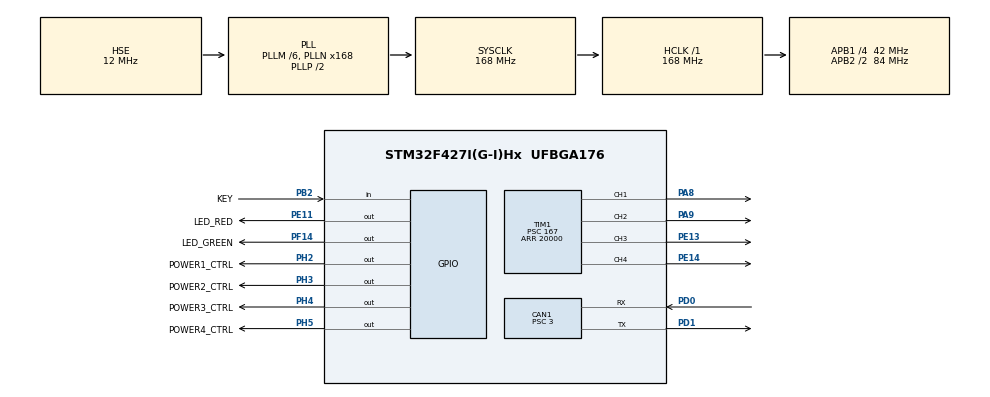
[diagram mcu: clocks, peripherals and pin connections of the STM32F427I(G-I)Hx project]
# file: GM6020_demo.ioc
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CAN1.ABOM=ENABLE
CAN1.BS1=CAN_BS1_9TQ
CAN1.BS2=CAN_BS2_4TQ
CAN1.CalculateBaudRate=1000000
CAN1.CalculateTimeQuantum=71.42857142857143
CAN1.NART=DISABLE
CAN1.Prescaler=3
CAN1.SJW=CAN_SJW_1TQ
Mcu.Family=STM32F4
Mcu.Name=STM32F427I(G-I)Hx
Mcu.Package=UFBGA176
NVIC.CAN1_RX0_IRQn=true\:0\:0\:false\:false\:true\:true\:true\:true
NVIC.CAN1_TX_IRQn=true\:0\:0\:false\:false\:true\:true\:true\:true
NVIC.PriorityGroup=NVIC_PRIORITYGROUP_4
PA8.Signal=S_TIM1_CH1
PA9.Signal=S_TIM1_CH2
PB2/BOOT1.GPIO_Label=KEY
PB2/BOOT1.Signal=GPIO_Input
PD0.Mode=CAN_Activate
PD0.Signal=CAN1_RX
PD1.Mode=CAN_Activate
PD1.Signal=CAN1_TX
PE11.GPIO_Label=LED_RED
PE11.Signal=GPIO_Output
PE13.Signal=S_TIM1_CH3
PE14.Signal=S_TIM1_CH4
PF14.GPIO_Label=LED_GREEN
PF14.Signal=GPIO_Output
PH0/OSC_IN.Mode=HSE-External-Oscillator
PH0/OSC_IN.Signal=RCC_OSC_IN
PH1/OSC_OUT.Mode=HSE-External-Oscillator
PH1/OSC_OUT.Signal=RCC_OSC_OUT
PH2.GPIO_Label=POWER1_CTRL
PH2.Signal=GPIO_Output
PH3.GPIO_Label=POWER2_CTRL
PH3.Signal=GPIO_Output
PH4.GPIO_Label=POWER3_CTRL
PH4.Signal=GPIO_Output
PH5.GPIO_Label=POWER4_CTRL
PH5.Signal=GPIO_Output
ProjectManager.HeapSize=0x200
ProjectManager.StackSize=0x400
ProjectManager.TargetToolchain=STM32CubeIDE
RCC.48MHZClocksFreq_Value=84000000
RCC.AHBFreq_Value=168000000
RCC.APB1CLKDivider=RCC_HCLK_DIV4
RCC.APB1Freq_Value=42000000
RCC.APB1TimFreq_Value=84000000
RCC.APB2CLKDivider=RCC_HCLK_DIV2
RCC.APB2Freq_Value=84000000
RCC.APB2TimFreq_Value=168000000
RCC.CortexFreq_Value=168000000
RCC.HCLKFreq_Value=168000000
RCC.HSE_VALUE=12000000
RCC.HSI_VALUE=16000000
RCC.LSE_VALUE=32768
RCC.PLLM=6
RCC.PLLN=168
RCC.PLLSourceVirtual=RCC_PLLSOURCE_HSE
RCC.SYSCLKFreq_VALUE=168000000
RCC.SYSCLKSource=RCC_SYSCLKSOURCE_PLLCLK
RCC.VCOOutputFreq_Value=336000000
SH.S_TIM1_CH1.0=TIM1_CH1,PWM Generation1 CH1
SH.S_TIM1_CH2.0=TIM1_CH2,PWM Generation2 CH2
SH.S_TIM1_CH3.0=TIM1_CH3,PWM Generation3 CH3
SH.S_TIM1_CH4.0=TIM1_CH4,PWM Generation4 CH4
TIM1.Channel-PWM\ Generation1\ CH1=TIM_CHANNEL_1
TIM1.Channel-PWM\ Generation2\ CH2=TIM_CHANNEL_2
TIM1.Channel-PWM\ Generation3\ CH3=TIM_CHANNEL_3
TIM1.Channel-PWM\ Generation4\ CH4=TIM_CHANNEL_4
TIM1.Period=20000
TIM1.Prescaler=167
TIM1.Pulse-PWM\ Generation1\ CH1=1000
TIM1.Pulse-PWM\ Generation2\ CH2=1000
TIM1.Pulse-PWM\ Generation3\ CH3=1000
TIM1.Pulse-PWM\ Generation4\ CH4=1000
board=PWM

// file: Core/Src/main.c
/* USER CODE BEGIN Header */
/**
  ******************************************************************************
  * @file           : main.c
  * @brief          : Main program body
  ******************************************************************************
  * @attention
  *
  *  Copyright (C) 2023 BarryGao.
  *
  *  This program is free software: you can redistribute it and/or modify
  *  it under the terms of the GNU General Public License as published by
  *  the Free Software Foundation, either version 3 of the License, or
  *  (at your option) any later version.
  *
  *  This program is distributed in the hope that it will be useful,
  *  but WITHOUT ANY WARRANTY; without even the implied warranty of
  *  MERCHANTABILITY or FITNESS FOR A PARTICULAR PURPOSE.  See the
  *  GNU General Public License for more details.
  *
  *  You should have received a copy of the GNU General Public License
  *  along with this program. If not, see <http://www.gnu.org/licenses/>.
  ******************************************************************************
  */
/* USER CODE END Header */
#include "main.h"
#include "can.h"
#include "tim.h"
#include "gpio.h"

/* USER CODE BEGIN Includes */
#include "../../Bsp/bsp_key.h"
#include "../../Bsp/bsp_led.h"
#include "../../Bsp/bsp_can.h"
#include "../../Bsp/bsp_pwm.h"
#include "../../Bsp/pid.h"
/* USER CODE END Includes */

/* USER CODE BEGIN PV */
extern moto_info_t motor_info[MOTOR_MAX_NUM];
int16_t led_cnt;
pid_struct_t motor_pid[7];
float target_speed = 0.0f;
uint16_t reset_flag = 1;
uint16_t pwm_pulse = 1080;  // default PWM pulse width:1080~1920
uint16_t direction = 0;		// default direction is 0 or 1
uint16_t angle_info[MOTOR_MAX_NUM];
uint16_t target_angle[MOTOR_MAX_NUM];
/* USER CODE END PV */

void SystemClock_Config(void);

int main(void)
{

  /* MCU Configuration--------------------------------------------------------*/

  /* Reset of all peripherals, Initializes the Flash interface and the Systick. */
  HAL_Init();

  /* Configure the system clock */
  SystemClock_Config();

  /* Initialize all configured peripherals */
  MX_GPIO_Init();
  MX_CAN1_Init();
  MX_TIM1_Init();
  /* USER CODE BEGIN 2 */
  HAL_GPIO_WritePin(GPIOH, POWER1_CTRL_Pin|POWER2_CTRL_Pin|POWER3_CTRL_Pin|POWER4_CTRL_Pin, GPIO_PIN_SET); // switch on 24v power
  pwm_init();                              // start pwm output
  can_user_init(&hcan1);                   // config can filter, start can
  for (uint8_t i = 0; i < 7; i++)
  {
	  pid_init(&motor_pid[i], 40, 3, 0, 30000, 30000); //init pid parameter, kp=40, ki=3, kd=0, output limit = 30000
  }
  /* USER CODE END 2 */

  /* Infinite loop */
  /* USER CODE BEGIN WHILE */
  while (1)
  {
	  /* led blink */
	  led_cnt ++;
	  if (led_cnt == 250)
	  {
		  led_cnt = 0;
	      LED_RED_TOGGLE(); //blink cycle 500ms
	  }
	  /* scan is key be pressd down to change target speed*/
	  /* direction control with the speed closed-loop*/
	  /*if (key_scan())
	  {
	  	  direction = ~direction;
	  	  if(direction)
	  	  {
	  	  	  target_speed = 100.0f;  // target speed increase 100rpm in ccw
	  	  }
	  	  else
	  	  {
	  	  	  target_speed = -100.0f;  // target speed increase 100rpm in cw
	  	  }
	  }*/
	  /* reset to the initial position*/
	  if (key_scan())
	  {
		  reset_flag = 0;
	  }
	  if (reset_flag == 0)
	  {
		  for (uint8_t i = 0; i < 7; i++)
		  	  {
			  	  if ((motor_info[0].rotor_angle != 8191) || (motor_info[0].rotor_angle != 0))
			  	  {
			  		  if((motor_info[0].rotor_angle >= 4095) && (motor_info[0].rotor_angle <= 8191))
			  		  {
			  			  angle_info[0] = 8191;
			  		  }
			  		  else
			  		  {
			  			  angle_info[0] = 0;
			  		  }
			  		  target_angle[0]=angle_info[0];
			  	  }
			  	if ((motor_info[1].rotor_angle != 4095))
			  	{
			  		angle_info[1] = 4095;
			  		target_angle[1]=angle_info[1];
			  	}
		  	  }
	  }
	  else
	  {
		  for (uint8_t i = 0; i < 7; i++)
		  {
			  angle_info[i] = motor_info[i].rotor_angle;
			  target_angle[i] = angle_info[i];
		  }
	  }
	  for (uint8_t i = 0; i < 7; i++)
	  {
		  if (motor_info[0].rotor_angle == target_angle[0])
		  {
			  if (motor_info[1].rotor_angle == target_angle[1])
			  {
				  reset_flag = 1;
			  }
		  }
	  }
	  /* motor speed pid calc */
	  /* Using target_speed as reference value and rotor_speed as feedback value */
	  /*for (uint8_t i = 0; i < 7; i++)
	  {
	      motor_info[i].set_voltage = pid_calc(&motor_pid[i], target_speed, motor_info[i].rotor_speed);
	  }*/
	  /* Using target_angle as reference value and rotor_angle as feedback value */
	  for (uint8_t i = 0; i < 7; i++)
	  {
		  motor_info[i].set_voltage = pid_calc(&motor_pid[i], angle_info[i], motor_info[i].rotor_angle);
	  }
	  /* send motor control message through can bus*/
	  set_motor_voltage(0,
			  motor_info[0].set_voltage,
			  motor_info[1].set_voltage,
			  motor_info[2].set_voltage,
			  motor_info[3].set_voltage);

	  set_motor_voltage(1,
			  motor_info[4].set_voltage,
			  motor_info[5].set_voltage,
			  motor_info[6].set_voltage,
			  0);
	  HAL_Delay(3);
	  HAL_CAN_RxFifo0MsgPendingCallback(&hcan1);
	  /* set pwm pulse width */
	  __HAL_TIM_SetCompare(&htim1, TIM_CHANNEL_1, pwm_pulse);
	  __HAL_TIM_SetCompare(&htim1, TIM_CHANNEL_2, pwm_pulse);
	  __HAL_TIM_SetCompare(&htim1, TIM_CHANNEL_3, pwm_pulse);
	  __HAL_TIM_SetCompare(&htim1, TIM_CHANNEL_4, pwm_pulse);

	  /* system delay 1ms */
	  HAL_Delay(2);
    /* USER CODE END WHILE */

  }
}

void SystemClock_Config(void)
{
  RCC_OscInitTypeDef RCC_OscInitStruct = {0};
  RCC_ClkInitTypeDef RCC_ClkInitStruct = {0};

  /** Configure the main internal regulator output voltage
  */
  __HAL_RCC_PWR_CLK_ENABLE();
  __HAL_PWR_VOLTAGESCALING_CONFIG(PWR_REGULATOR_VOLTAGE_SCALE1);

  /** Initializes the RCC Oscillators according to the specified parameters
  * in the RCC_OscInitTypeDef structure.
  */
  RCC_OscInitStruct.OscillatorType = RCC_OSCILLATORTYPE_HSE;
  RCC_OscInitStruct.HSEState = RCC_HSE_ON;
  RCC_OscInitStruct.PLL.PLLState = RCC_PLL_ON;
  RCC_OscInitStruct.PLL.PLLSource = RCC_PLLSOURCE_HSE;
  RCC_OscInitStruct.PLL.PLLM = 6;
  RCC_OscInitStruct.PLL.PLLN = 168;
  RCC_OscInitStruct.PLL.PLLP = RCC_PLLP_DIV2;
  RCC_OscInitStruct.PLL.PLLQ = 4;
  if (HAL_RCC_OscConfig(&RCC_OscInitStruct) != HAL_OK)
  {
    Error_Handler();
  }

  /** Initializes the CPU, AHB and APB buses clocks
  */
  RCC_ClkInitStruct.ClockType = RCC_CLOCKTYPE_HCLK|RCC_CLOCKTYPE_SYSCLK
                              |RCC_CLOCKTYPE_PCLK1|RCC_CLOCKTYPE_PCLK2;
  RCC_ClkInitStruct.SYSCLKSource = RCC_SYSCLKSOURCE_PLLCLK;
  RCC_ClkInitStruct.AHBCLKDivider = RCC_SYSCLK_DIV1;
  RCC_ClkInitStruct.APB1CLKDivider = RCC_HCLK_DIV4;
  RCC_ClkInitStruct.APB2CLKDivider = RCC_HCLK_DIV2;

  if (HAL_RCC_ClockConfig(&RCC_ClkInitStruct, FLASH_LATENCY_5) != HAL_OK)
  {
    Error_Handler();
  }
}

void Error_Handler(void)
{
  __disable_irq();
  while (1)
  {
  }
}
